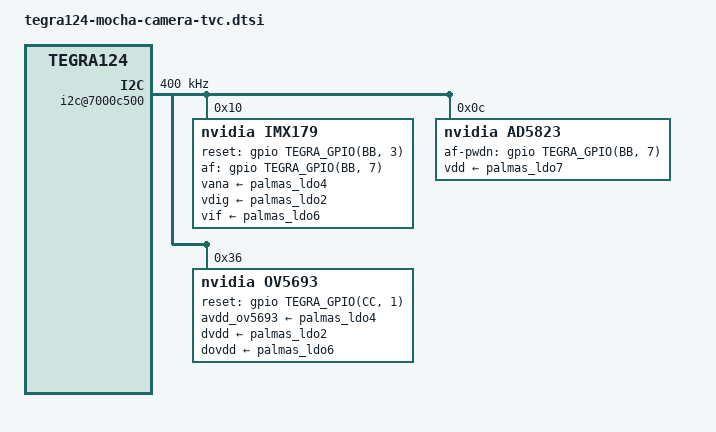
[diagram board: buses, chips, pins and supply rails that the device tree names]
/*
 * Copyright (c) 2026, Dargons10.  All rights reserved.
 *
 * This program is free software; you can redistribute it and/or modify it
 * under the terms and conditions of the GNU General Public License,
 * version 2, as published by the Free Software Foundation.
 *
 * Tegra124 Mocha (MiPad 1st Gen) camera bindings for the LEGACY NVIDIA
 * TVC/NVC stack (drivers/media/platform/tegra/*.c + camera.pcl).
 *
 * Model (matches the 3.10.108 root drivers, Zack8141 TN8 style):
 *  - sensors are i2c OF nodes probed via of_match (compatible nvidia,*)
 *  - camera.pcl misc device instantiated by the pcl-generic platform
 *    device auxdata in board-mocha.c bound to the nvidia,tegra124-camera
 *    node below; libnvmm creates/manges devices through ioctl on it.
 *  - VI/CSI/ISP live in the base tegra124.dtsi nvhost nodes (CONFIG_GRHOST).
 *
 * Hardware (same wiring as tegra124-mocha-camera-mc.dtsi):
 *   Rear:  IMX179 @i2c 0x10, reset=PBB3(219), af_pwdn=PBB7(223), MCLK1
 *   AF:    AD5823 @i2c 0x0c, af-pwdn=PBB7(223)
 *   Front: OV5693 @i2c 0x36, reset=PCC1(225) (used as pwdn by NVC), MCLK2
 *   Regulators: LDO4 avdd-cam 2.7V, LDO2 1.8V, LDO6 vdd-cam-af 1.8V,
 *               LDO7 avdd-cam-af 2.7V (palmas e1736).
 */

#include <dt-bindings/gpio/tegra-gpio.h>

/ {
	camera {
		compatible = "nvidia,tegra124-camera", "simple-bus";
		status = "okay";
	};

	i2c@7000c500 {
		status = "okay";
		clock-frequency = <400000>;

		imx179@10 {
			compatible = "nvidia,imx179";
			reg = <0x10>;
			clocks = <&tegra_car 20>;
			clock-names = "default_mclk";
			reset-gpios = <&gpio TEGRA_GPIO(BB, 3) GPIO_ACTIVE_HIGH>;
			af-gpios = <&gpio TEGRA_GPIO(BB, 7) GPIO_ACTIVE_HIGH>;
			vana-supply = <&palmas_ldo4>;
			vdig-supply = <&palmas_ldo2>;
			vif-supply = <&palmas_ldo6>;
			nvidia,ext_reg;
		};

		ad5823@0c {
			compatible = "nvidia,ad5823";
			reg = <0x0c>;
			af-pwdn-gpios = <&gpio TEGRA_GPIO(BB, 7) GPIO_ACTIVE_HIGH>;
			vdd-supply = <&palmas_ldo7>;
		};

		ov5693@36 {
			compatible = "nvidia,ov5693";
			reg = <0x36>;
			clocks = <&tegra_car 21>;
			clock-names = "mclk2";
			nvidia,mclk_name = "mclk2";
			reset-gpios = <&gpio TEGRA_GPIO(CC, 1) GPIO_ACTIVE_HIGH>;
			avdd_ov5693-supply = <&palmas_ldo4>;
			dvdd-supply = <&palmas_ldo2>;
			dovdd-supply = <&palmas_ldo6>;
		};
	};
};
